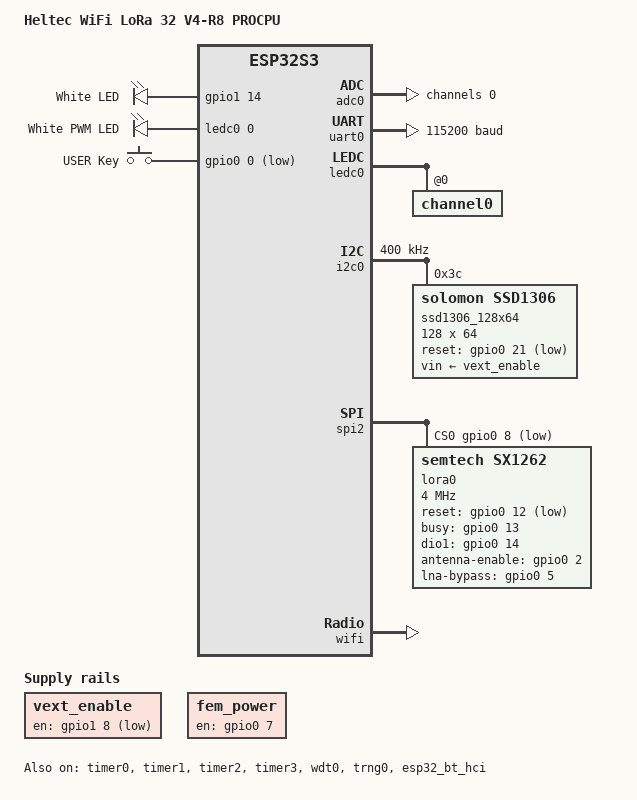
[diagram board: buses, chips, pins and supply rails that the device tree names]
/*
 * SPDX-License-Identifier: MIT
 * Heltec WiFi LoRa 32 V4-R8 — ZephCore procpu DTS
 *
 * Hardware:
 *   MCU:    ESP32-S3R8 (16 MB flash, 8 MB octal PSRAM)
 *   Radio:  SX1262 on SPI2, KCT8103L external PA/FEM
 *   OLED:   SSD1306 128x64 on I2C0
 *   Button: GPIO0
 *   LED:    GPIO46 (PWM via LEDC0)
 *   Vext:   GPIO40 active-LOW PMOS rail switch (powers OLED and sensors)
 *   BatADC: GPIO1 = ADC1_CH0 (&adc0), no enable pin (ADC_Ctrl removed on R8)
 *
 * V4-R8: ESP32-S3R8 (8 MB octal PSRAM). Octal PSRAM claims GPIO33-37, which is
 * why Vext moved 36->40, the LED 35->46, VGNSS_Ctrl 34->42, and ADC_Ctrl and
 * GNSS_RST were dropped. FEM is KCT8103L as on V4.3.
 *
 * V4.3 vs V4.2 difference — FEM chip changed:
 *   V4.2: GC1109 PA  — TX_EN on GPIO46 (CPS)
 *   V4.3: KCT8103L PA — CTX  on GPIO5  (HIGH=TX, LOW=RX/LNA)
 *   Detection: GPIO2 default pull differs (GC1109: pull-down, KCT8103L: pull-up)
 *   (See MeshCore PR#1867, Heltec schematic HTIT-WB32LAF_V4.3)
 *
 * Pins the PSRAM reshuffle does not move. Origin is noted per line, because
 * this board takes its FEM from V4.3 and not every line here exists on V4.2:
 *   GPIO7  = VFEM_Ctrl LDO power (active-HIGH, always-on)  — V4.2 onward
 *   GPIO2  = FEM CSD (chip enable, active-HIGH)            — V4.2 onward
 *   GPIO5  = KCT8103L CTX (TX/RX select: HIGH=TX, LOW=RX/LNA) — V4.3 onward.
 *            V4.2 has NO CTX: its GC1109 is driven by TX_EN on GPIO46. Do not
 *            carry this line back to heltec_wifi_lora32_v4.
 *
 * LoRa SPI2:  SCLK=9, MOSI=10, MISO=11, NSS=8
 * LoRa ctrl:  DIO1=14, BUSY=13, RESET=12
 * FEM:        POWER=7, CSD=2, CTX=5
 * Display I2C0: SDA=17, SCL=18, RST=21
 */

/dts-v1/;

#include <espressif/esp32s3/esp32s3.dtsi>
#include "heltec_wifi_lora32_v4_r8-pinctrl.dtsi"
#include <zephyr/dt-bindings/pwm/pwm.h>
#include <zephyr/dt-bindings/input/input-event-codes.h>
#include <zephyr/dt-bindings/lora/sx126x.h>
#include <zephyr/dt-bindings/adc/adc.h>
#include <zephyr/dt-bindings/gpio/espressif-esp32-gpio.h>
#include <espressif/partitions_0x0_amp_16M.dtsi>

/* Module flash/PSRAM, declared by the board since Zephyr 4.5 removed the
 * per-module dtsi (esp32s3_wroom_n16r8.dtsi). The R8 is the 8 MB octal part,
 * which is what distinguishes it from the V4/V4.3 S3R2 at 2 MB quad. */
&flash0 {
	reg = <0x0 DT_SIZE_M(16)>;
	ranges = <0x0 0x0 DT_SIZE_M(16)>;
};

&psram0 {
	size = <DT_SIZE_M(8)>;
};

/ {
	model = "Heltec WiFi LoRa 32 V4-R8 PROCPU";
	compatible = "heltec,wifi-lora32-v4-r8";

	aliases {
		led0 = &led0;
		pwm-0 = &ledc0;
		pwm-led0 = &pwm_led_white;
		uart-0 = &uart0;
		i2c-0 = &i2c0;
		lora0 = &lora0;
		sw0 = &button0;
		watchdog0 = &wdt0;
	};

	leds {
		compatible = "gpio-leds";
		led0: led {
			gpios = <&gpio1 14 GPIO_ACTIVE_HIGH>;  /* GPIO46 = gpio1 pin 14 */
			label = "White LED";
		};
	};

	pwmleds {
		compatible = "pwm-leds";
		pwm_led_white: pwm_led_gpio46 {
			label = "White PWM LED";
			pwms = <&ledc0 0 PWM_MSEC(10) PWM_POLARITY_NORMAL>;
		};
	};

	buttons: buttons {
		compatible = "gpio-keys";
		button0: button_0 {
			gpios = <&gpio0 0 (GPIO_PULL_UP | GPIO_ACTIVE_LOW)>;
			label = "USER Key";
			zephyr,code = <INPUT_KEY_0>;
		};
	};

	/* No 'vbatt' voltage-divider node: ZephCore reads the battery via
	 * zephyr,user { io-channels } (see board.overlay), and a voltage-divider
	 * on &adc1 ch0 would target GPIO11 = the SX1262 MISO. See &adc0 below. */

	/* Vext rail switch — PMOS, ACTIVE LOW (GPIO40 low = rail ON).
	 * Powers the OLED (incl. its I2C pull-ups) and the expansion header.
	 *
	 * Same rail circuit as V4.2/V4.3, moved from GPIO36 to GPIO40 by the
	 * octal-PSRAM pin reshuffle (GPIO33-37 are the PSRAM pads on an S3R8).
	 *
	 * Arduino MeshCore drives this revision the same way, and unlike the plain
	 * V4 it actually asserts the pin: variants/heltec_v4_r8 sets PIN_VEXT_EN=40
	 * with PIN_VEXT_EN_ACTIVE=LOW, and its target.cpp constructs the display
	 * with &board.periph_power, so RefCountedDigitalPin::claim() drives the pin
	 * to the active level. (The plain V4 passes NULL there, so its pin only ever
	 * sits at the !active level begin() set -- which is why its ACTIVE=HIGH
	 * constant never shows up as a difference.)
	 *
	 * Confirmed on hardware here: with this regulator holding GPIO40 low, the
	 * SSD1306 acknowledges at 0x3c, which it cannot do on an unpowered rail.
	 *
	 * regulator-boot-on + always-on: the rail comes up at regulator init,
	 * well before the SSD1306 driver init. */
	vext_enable: vext-enable {
		compatible = "regulator-fixed";
		regulator-name = "vext";
		enable-gpios = <&gpio1 8 (GPIO_ACTIVE_LOW | ESP32_GPIO_SLEEP_HOLD_EN)>;  /* GPIO40 = gpio1 pin 8 */
		regulator-boot-on;
		regulator-always-on;
	};

	/* No adc_ctrl power-domain node: ADC_Ctrl is removed on the R8 and GPIO37
	 * (gpio1 pin 5) is an octal-PSRAM pad, which must not be driven at all.
	 * There is no vbat-enable regulator either -- the divider is permanently
	 * connected, so ZephyrBoard's regulator lookup degrades to NULL by
	 * design. See board.overlay's battery-ADC block. */

	/* FEM LDO power supply — GPIO7 powers the KCT8103L LDO.
	 * Must be HIGH before any radio operation. Keep always-on. */
	fem_power: fem-power {
		compatible = "regulator-fixed";
		regulator-name = "fem-power";
		enable-gpios = <&gpio0 7 (GPIO_ACTIVE_HIGH | ESP32_GPIO_SLEEP_HOLD_EN)>;  /* VFEM_Ctrl = GPIO7, held across light sleep */
		regulator-boot-on;
		regulator-always-on;
	};

	chosen {
		zephyr,sram = &sram1;
		zephyr,console = &uart0;
		zephyr,shell-uart = &uart0;
		zephyr,flash = &flash0;
		zephyr,code-partition = &slot0_partition;
		zephyr,bt-hci = &esp32_bt_hci;
		zephyr,display = &ssd1306_128x64;
	};
};

/* Battery ADC on adc0 (ADC unit 1 -> GPIO1 = ADC1_CH0). The node *labelled*
 * adc0 is unit 1; the node labelled adc1 is unit 2 (= GPIO11 = SX1262 MISO).
 * The channel@0 config is required — without it adc_channel_setup_dt() fails and
 * getBattMilliVolts() returns 0 before ever performing a conversion. ADC_GAIN_1
 * (0 dB) with ADC_REF_INTERNAL; the 390K/100K divider output for a 3.0-4.2 V
 * cell sits well inside range.
 *
 * The SoC's true 0 dB span does not enter the battery maths: Zephyr's
 * adc_esp32 driver calibrates the hardware raw and then re-projects it onto a
 * fixed 1100 mV / 4095 scale before the application sees it, so the value
 * board.overlay's vbat-mv-multiplier scales is already on that scale whatever
 * the silicon does. That file owns the number and states its derivation. */
&adc0 {
	status = "okay";
	#address-cells = <1>;
	#size-cells = <0>;

	channel@0 {
		reg = <0>;
		zephyr,gain = "ADC_GAIN_1";
		zephyr,reference = "ADC_REF_INTERNAL";
		zephyr,acquisition-time = <ADC_ACQ_TIME_DEFAULT>;
		zephyr,resolution = <12>;
	};
};

/* ADC unit 2 (label adc1) is unused; keep it disabled so nothing can claim
 * GPIO11 (SX1262 MISO) as an ADC pad. */
&adc1 {
	status = "disabled";
};

&uart0 {
	status = "okay";
	current-speed = <115200>;
	pinctrl-0 = <&uart0_default>;
	pinctrl-names = "default";
};

&gpio0 {
	status = "okay";
};

&gpio1 {
	status = "okay";
};

&ledc0 {
	pinctrl-0 = <&ledc0_default>;
	pinctrl-names = "default";
	status = "okay";
	#address-cells = <1>;
	#size-cells = <0>;

	channel0@0 {
		reg = <0x0>;
		timer = <0>;
	};
};

&i2c0 {
	status = "okay";
	clock-frequency = <I2C_BITRATE_FAST>;
	pinctrl-0 = <&i2c0_default>;
	pinctrl-names = "default";

	ssd1306_128x64: display-controller@3c {
		compatible = "solomon,ssd1306";
		reg = <0x3c>;
		width = <128>;
		height = <64>;
		segment-offset = <0>;
		page-offset = <0>;
		display-offset = <0>;
		multiplex-ratio = <63>;
		segment-remap;
		com-invdir;
		inversion-on;
		prechargep = <0x22>;
		reset-gpios = <&gpio0 21 GPIO_ACTIVE_LOW>;   /* RST_OLED = GPIO21 */
		vin-supply = <&vext_enable>;
	};
};

&spi2 {
	#address-cells = <1>;
	#size-cells = <0>;
	status = "okay";
	pinctrl-0 = <&spim2_default>;
	pinctrl-names = "default";

	/* NSS held across light sleep (boards/common/pm_esp32.overlay): an
	 * isolated, floating chip-select lets the sleeping SX1262 clock garbage
	 * into its retention RAM.  Inert when CONFIG_PM=n. */
	cs-gpios = <&gpio0 8 (GPIO_ACTIVE_LOW | ESP32_GPIO_SLEEP_HOLD_EN)>;  /* NSS = GPIO8 */

	lora0: modem@0 {
		compatible = "semtech,sx1262";
		reg = <0>;
		reset-gpios   = <&gpio0 12 (GPIO_OPEN_DRAIN | GPIO_ACTIVE_LOW |
					 ESP32_GPIO_SLEEP_HOLD_EN)>;  /* RESET = GPIO12 */
		busy-gpios    = <&gpio0 13 GPIO_ACTIVE_HIGH>;                      /* BUSY  = GPIO13 */
		dio1-gpios    = <&gpio0 14 GPIO_ACTIVE_HIGH>;                      /* DIO1  = GPIO14 */

		/* External PA/FEM control (KCT8103L, V4.3):
		 *   GPIO2 = CSD (chip enable): driven HIGH during radio, LOW in sleep
		 *   GPIO5 = CTX (receive-path select): LOW = through the LNA,
		 *           HIGH = bypass.  Held HIGH during TX, where the branch
		 *           is inert because DIO2/CPS has selected the TX path.
		 * V4.3 CHANGE: CTX moved from GPIO46 (GC1109 CPS) to GPIO5 (KCT8103L CTX).
		 * CTX is lna-bypass-gpios, NOT tx-enable-gpios: it enables nothing,
		 * and binding it as a TX enable is what made `set radio.fem.rxgain
		 * off` gate CSD instead in 1.17.2, shutting the FEM down and taking
		 * the receive path with it (~69 dB, measured). */
		/*
		 * ESP32_GPIO_SLEEP_HOLD_EN on both: light sleep switches every pad
		 * that is not held to an isolated sleep configuration (input and
		 * output off, no pulls), so these lines float for the length of
		 * each sleep (boards/common/pm_esp32.overlay).  They are the FEM's
		 * entire control surface — CSD low disables the PA and the LNA with
		 * it, CTX high bypasses the LNA — and the radio keeps receiving
		 * through the sleep, so a floating pair means RX without its LNA
		 * and TX through a bypassed PA, tens of dB down, while the node
		 * otherwise looks healthy and keeps relaying.
		 * The flag is ignored when CONFIG_PM=n, so this is inert on
		 * builds that never light-sleep.
		 */
		antenna-enable-gpios = <&gpio0 2 (GPIO_ACTIVE_HIGH |
						 ESP32_GPIO_SLEEP_HOLD_EN)>;   /* KCT8103L CSD = GPIO2 */
		lna-bypass-gpios     = <&gpio0 5 (GPIO_ACTIVE_HIGH |
						 ESP32_GPIO_SLEEP_HOLD_EN)>;   /* KCT8103L CTX = GPIO5 */

		/* DIO2 drives the SX1262 RF switch output, which on a KCT8103L
		 * board is the part's CPS pin — the TX/RX path select. MeshCore's
		 * heltec_v4 target defines CSD=2 and CTX=5 for the KCT8103L, no
		 * CPS GPIO, and SX126X_DIO2_AS_RF_SWITCH=true; same on t096 and
		 * tracker_v2. Note the V4.2 GC1109 inverts these two pin names —
		 * there CPS is GPIO46 (an MCU pin, see heltec_wifi_lora32_v4) and
		 * DIO2 drives the pin that part calls CTX. On the KCT8103L, DIO2
		 * doing the path select is what leaves CTX free to mean nothing
		 * but LNA-or-bypass. */
		dio2-tx-enable;

		/* TCXO 1.8V via DIO3 — same as V4.2 */
		dio3-tcxo-voltage = <SX126X_DIO3_TCXO_1V8>;
		tcxo-power-startup-delay-ms = <5>;

		spi-max-frequency = <4000000>;
	};
};

&timer0 { status = "okay"; };
&timer1 { status = "okay"; };
&timer2 { status = "okay"; };
&timer3 { status = "okay"; };

&wdt0 { status = "okay"; };
&trng0 { status = "okay"; };

&esp32_bt_hci { status = "okay"; };
&wifi { status = "okay"; };
